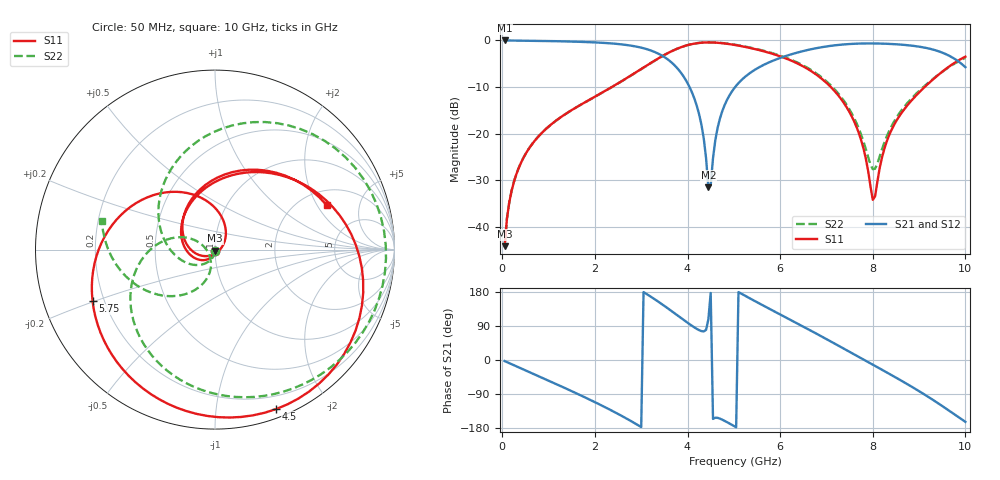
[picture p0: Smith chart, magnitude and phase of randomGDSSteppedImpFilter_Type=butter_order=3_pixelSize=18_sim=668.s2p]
! freq	dB(S11)	phase(S11)	dB(S12)	phase(S12)
!  dB(S21)	phase(S21)	dB(S22)	phase(S22)
!S-par simulation data
#  GHz  S  DB  R 50
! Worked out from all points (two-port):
!   200 points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, 50 MHz to 10 GHz, reference 50 ohm
!   highest |S21| = -0.01 dB at 50 MHz (marker M1); lowest = -31.5 dB at 4.45 GHz (marker M2)
!   |S21| within 3 dB of the highest: start of sweep to 3.403 GHz; 6.228 GHz to 9.593 GHz (3.365 GHz wide, 42.5 % of centre)
!   lowest |S11| = -44.1 dB at 50 MHz (marker M3), VSWR 1.01, Z = 50 - j0.626 ohm
!   |S11| at or under -10 dB: start of sweep to 2.362 GHz; 7.096 GHz to 9.118 GHz (2.022 GHz wide, 24.9 % of centre)
!   |S22| runs from -44.1 to -0.4 dB; largest |S21 - S12| = 0
!   S11 on the Smith chart (normalised r, x): 50 MHz: 1.00, -0.01; 4.5 GHz: 0.08, -1.45; 5.75 GHz: 0.16, -0.20; 10 GHz: 2.72, +2.43
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0.05  -44.07 -90.9  -0.01 -2.8  -0.01 -2.8  -44.05 -90.3
0.2  -32.25 -102.4  -0.02 -10.9  -0.02 -10.9  -32.24 -98.3
0.5  -24.37 -122.7  -0.05 -27.2  -0.05 -27.2  -24.34 -112.5
1.15  -17.25 -165.9  -0.16 -62.7  -0.16 -62.7  -17.26 -141.2
1.75  -13.45 152.7  -0.32 -96.6  -0.32 -96.6  -13.47 -168.1
2.7  -7.98 83.9  -1.00 -155.7  -1.00 -155.7  -8.00 142.1
3.4  -3.67 28.2  -2.99 151.3  -2.99 151.3  -3.68 90.8
3.8  -1.68 -7.1  -6.20 116.2  -6.20 116.2  -1.68 54.5
4.15  -0.68 -38.9  -12.51 85.8  -12.51 85.8  -0.66 20.6
4.35  -0.46 -56.4  -20.98 75.5  -20.98 75.5  -0.43 1.7
4.45  -0.43 -64.9  -31.49 107.2  -31.49 107.2  -0.40 -7.5
4.5  -0.43 -69.0  -31.04 176.9  -31.04 176.9  -0.40 -12.0
4.7  -0.54 -84.9  -16.72 -154.8  -16.72 -154.8  -0.50 -29.3
5.05  -1.02 -110.6  -9.72 -177.4  -9.72 -177.4  -0.95 -57.0
5.75  -2.61 -157.1  -4.74 136.3  -4.74 136.3  -2.49 -105.1
6.7  -6.77 138.7  -1.82 75.0  -1.82 75.0  -6.52 -162.6
7.6  -17.40 64.5  -0.71 14.8  -0.71 14.8  -16.68 155.6
8  -34.14 -37.4  -0.64 -12.3  -0.64 -12.3  -27.57 -161.0
8.35  -20.39 -162.3  -0.74 -36.1  -0.74 -36.1  -19.48 -102.9
9.15  -9.70 109.4  -1.60 -93.6  -1.60 -93.6  -9.48 -129.8
9.6  -5.94 61.8  -3.04 -129.7  -3.04 -129.7  -6.02 -159.5
10  -3.48 21.5  -5.73 -163.1  -5.73 -163.1  -3.74 165.7
